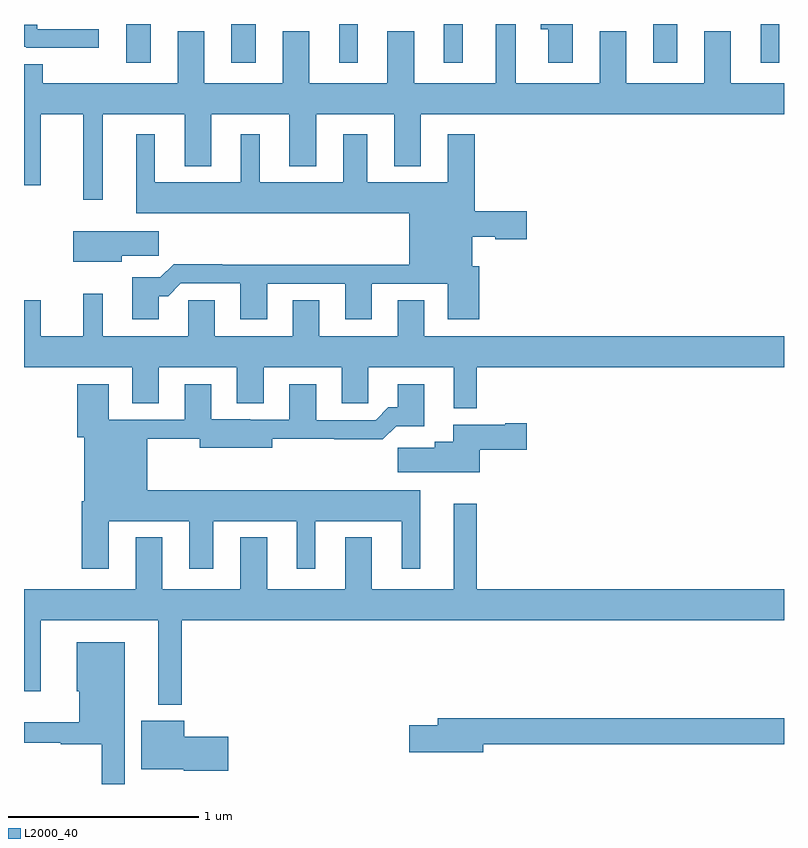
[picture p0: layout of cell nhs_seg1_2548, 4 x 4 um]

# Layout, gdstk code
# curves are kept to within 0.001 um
import gdstk
lib = gdstk.Library(unit=1e-6, precision=1e-09)
def R(c, l, rs):  # rectangles x0, y0, x1, y1
    for r in rs: c.add(gdstk.rectangle(r[:2], r[2:], *l))
def P(c, l, *ps):  # polygons
    for p in ps: c.add(gdstk.Polygon(p, *l))
L2000_40 = (2000, 40)

nhs_seg1_2548 = lib.new_cell('nhs_seg1_2548')
R(nhs_seg1_2548, L2000_40, [(249.539,559.995,249.667,560.199), (250.091,559.995,250.219,560.199), (250.658,559.995,250.756,560.199), (251.21,559.995,251.308,560.199), (252.311,559.995,252.439,560.199), (252.878,559.995,252.976,560.199)])
P(nhs_seg1_2548, L2000_40, [(251.887,560.199),(251.72,560.199),(251.72,560.171),(251.759,560.171),(251.759,559.995),(251.887,559.995)],
  [(249.415,559.724),(249.845,559.724),(249.845,559.451),(249.985,559.451),(249.985,559.724),(250.397,559.724),(250.397,559.451),(250.537,559.451),(250.537,559.724),(250.949,559.724),(250.949,559.451),(251.089,559.451),(251.089,559.724),(253,559.724),(253,559.888),(252.721,559.888),(252.721,560.161),(252.581,560.161),(252.581,559.888),(252.169,559.888),(252.169,560.161),(252.029,560.161),(252.029,559.888),(251.587,559.888),(251.587,560.199),(251.483,560.199),(251.483,559.888),(251.053,559.888),(251.053,560.161),(250.913,560.161),(250.913,559.888),(250.501,559.888),(250.501,560.161),(250.361,560.161),(250.361,559.888),(249.949,559.888),(249.949,560.161),(249.809,560.161),(249.809,559.888),(249.099,559.888),(249.099,559.986),(249,559.986),(249,559.35),(249.088,559.35),(249.088,559.724),(249.311,559.724),(249.311,559.275),(249.415,559.275)],
  [(249.394,560.172),(249.07,560.172),(249.07,560.195),(249,560.195),(249,560.079),(249.013,560.079),(249.013,560.075),(249.394,560.075)],
  [(249.709,558.767),(249.758,558.767),(249.825,558.834),(250.139,558.834),(250.139,558.645),(250.279,558.645),(250.279,558.831),(250.691,558.831),(250.691,558.645),(250.831,558.645),(250.831,558.831),(251.231,558.831),(251.231,558.645),(251.396,558.645),(251.396,558.924),(251.359,558.924),(251.359,559.079),(251.479,559.079),(251.479,559.067),(251.647,559.067),(251.647,559.214),(251.372,559.214),(251.372,559.618),(251.231,559.618),(251.231,559.366),(250.807,559.366),(250.807,559.618),(250.679,559.618),(250.679,559.366),(250.24,559.366),(250.24,559.618),(250.142,559.618),(250.142,559.366),(249.688,559.366),(249.688,559.618),(249.59,559.618),(249.59,559.202),(251.027,559.202),(251.027,558.932),(250.043,558.932),(250.043,558.935),(249.788,558.935),(249.718,558.865),(249.569,558.865),(249.569,558.645),(249.709,558.645)],
  [(249.514,558.979),(249.709,558.979),(249.709,559.108),(249.26,559.108),(249.26,558.947),(249.514,558.947)],
  [(250.673,558.202),(250.812,558.202),(250.812,558.392),(251.261,558.392),(251.261,558.176),(251.383,558.176),(251.383,558.392),(253,558.392),(253,558.556),(251.107,558.556),(251.107,558.746),(250.967,558.746),(250.967,558.556),(250.555,558.556),(250.555,558.746),(250.415,558.746),(250.415,558.556),(250.003,558.556),(250.003,558.746),(249.864,558.746),(249.864,558.556),(249.415,558.556),(249.415,558.778),(249.311,558.778),(249.311,558.556),(249.088,558.556),(249.088,558.745),(249,558.745),(249,558.392),(249.569,558.392),(249.569,558.202),(249.709,558.202),(249.709,558.392),(250.121,558.392),(250.121,558.203),(250.261,558.203),(250.261,558.392),(250.673,558.392)],
  [(249.445,557.582),(249.869,557.582),(249.869,557.331),(249.997,557.331),(249.997,557.582),(250.436,557.582),(250.436,557.331),(250.534,557.331),(250.534,557.582),(250.988,557.582),(250.988,557.331),(251.086,557.331),(251.086,557.746),(249.649,557.746),(249.649,558.016),(249.926,558.016),(249.926,557.969),(250.306,557.969),(250.306,558.016),(250.633,558.016),(250.633,558.014),(250.889,558.014),(250.958,558.083),(251.107,558.083),(251.107,558.304),(250.967,558.304),(250.967,558.181),(250.918,558.181),(250.851,558.114),(250.537,558.114),(250.537,558.304),(250.397,558.304),(250.397,558.117),(249.985,558.118),(249.985,558.304),(249.845,558.304),(249.845,558.117),(249.445,558.117),(249.445,558.304),(249.281,558.304),(249.281,558.024),(249.317,558.024),(249.317,557.686),(249.305,557.686),(249.305,557.331),(249.445,557.331)],
  [(251.398,557.957),(251.647,557.957),(251.647,558.099),(251.534,558.099),(251.534,558.091),(251.258,558.091),(251.258,558.001),(251.162,558.001),(251.162,557.969),(250.968,557.969),(250.968,557.84),(251.398,557.84)],
  [(249.829,557.06),(253,557.06),(253,557.224),(251.383,557.224),(251.383,557.674),(251.261,557.674),(251.261,557.224),(250.831,557.224),(250.831,557.497),(250.691,557.497),(250.691,557.224),(250.279,557.224),(250.279,557.497),(250.139,557.497),(250.139,557.224),(249.727,557.224),(249.727,557.497),(249.587,557.497),(249.587,557.224),(249,557.224),(249,556.686),(249.088,556.686),(249.088,557.06),(249.707,557.06),(249.707,556.616),(249.829,556.616)],
  [(249.529,556.945),(249.278,556.945),(249.278,556.686),(249.29,556.686),(249.29,556.525),(249,556.525),(249,556.416),(249.194,556.416),(249.194,556.408),(249.408,556.408),(249.408,556.199),(249.529,556.199)],
  [(251.416,556.408),(253,556.408),(253,556.544),(251.177,556.544),(251.177,556.508),(251.028,556.508),(251.028,556.366),(251.416,556.366)],
  [(250.075,556.448),(249.844,556.448),(249.844,556.531),(249.617,556.531),(249.617,556.277),(249.84,556.277),(249.84,556.27),(250.075,556.27)])

lib.write_gds('nhs_seg1_2548.gds')
